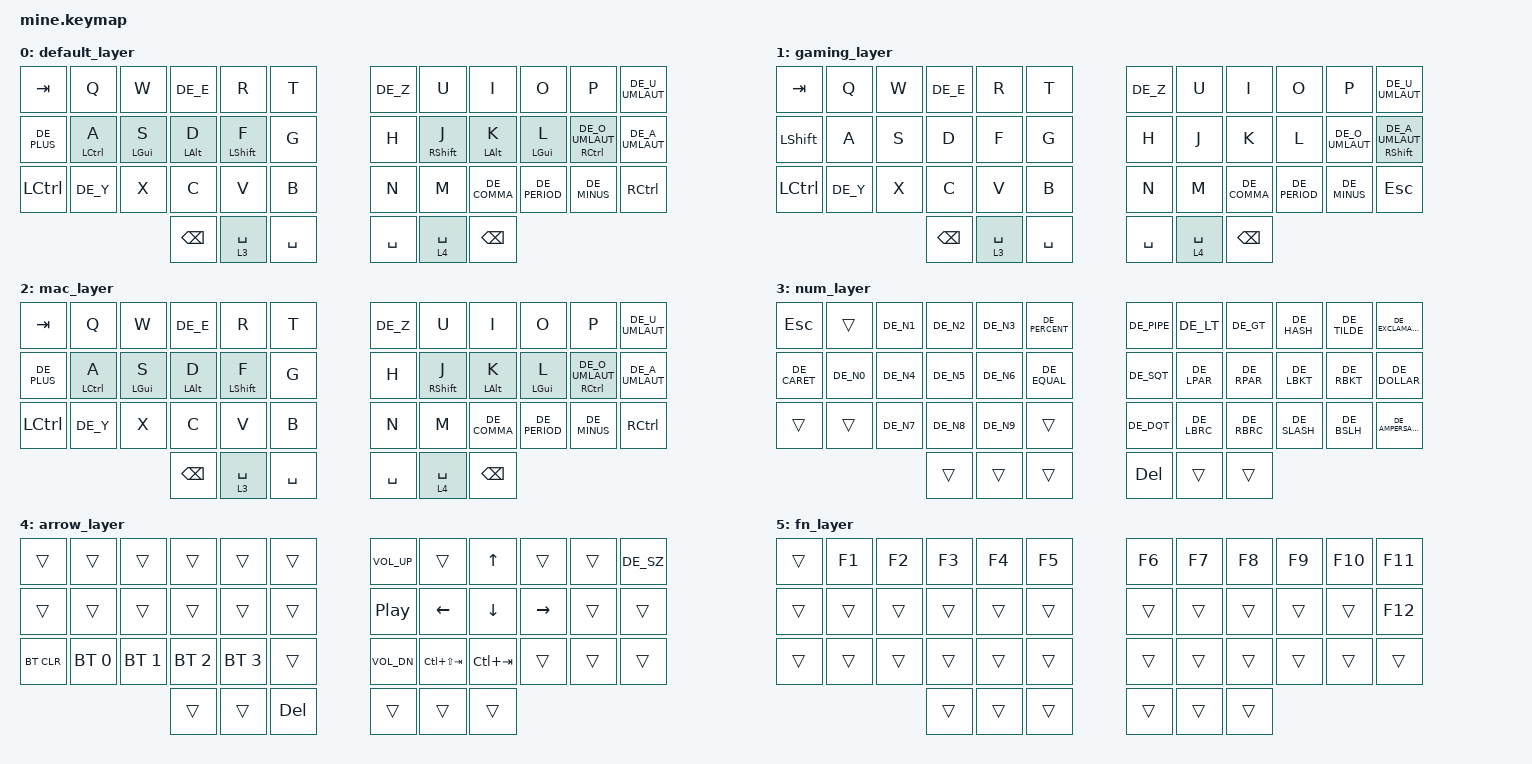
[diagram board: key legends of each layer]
#include <behaviors.dtsi>
#include <dt-bindings/zmk/keys.h>
#include <dt-bindings/zmk/bt.h>
#include "keys_de.h"
#include <dt-bindings/zmk/outputs.h>

/ {
        combos {
                compatible = "zmk,combos";
                combo_ret {
                        timeout-ms = <100>;
                        key-positions = <23 35>;
                        bindings = <&kp RET>;
                };
                
                combo_bcps {
                        timeout-ms = <100>;
                        key-positions = <38 39>;
                        bindings = <&kp BSPC>;
                };

                combo_tggaming {
                        timeout-ms = <100>;
                        key-positions = <12 23>;
                        bindings = <&tog 1>;
                };

                combo_tgmac {
                        timeout-ms = <100>;  
                        key-positions = <0 11>;
                        bindings = <&tog 2>;
                };
        };

        behaviors {
                bhm: balanced_homerow_mods {
                        compatible = "zmk,behavior-hold-tap";
                        #binding-cells = <2>;
                        tapping-term-ms = <200>;
                        quick-tap-ms = <0>;
                        flavor = "balanced";
                        bindings = <&kp>, <&kp>;
                };
        };

        conditional_layers {
                compatible = "zmk,conditional-layers";
                tri_layer {
                        if-layers = <3 4>;
                        then-layer = <5>;
                };
        };

        keymap {
                compatible = "zmk,keymap";

                default_layer {
                        bindings = 
                            //  tab     Q       W       E       R       T               Z       U       I       O       P       Ü
                            
                            //  +       A-ctrl  S-gui   D-alt   F-shift G               H       J-shift  K-alt   L-gui  Ö-ctrl  Ä    
                            
                            //  ctrl    Y       X       C       V       B               N       M       ,       .       -       ctrl
                            
                            //                          bspc    spc(1)  spc             spc     spc(2)  bspc  
                            
                        <
                                &kp TAB &kp Q   &kp W   &kp DE_E   &kp R   &kp T           &kp DE_Z   &kp U   &kp I   &kp O   &kp P   &kp DE_U_UMLAUT
                                &kp DE_PLUS &bhm LCTRL A  &bhm LGUI S &bhm LALT D   &bhm LSHIFT F   &kp G      &kp H      &bhm RSHIFT J   &bhm LALT K   &bhm LGUI L   &bhm RCTRL DE_O_UMLAUT   &kp DE_A_UMLAUT
                                &kp LCTRL &kp DE_Y &kp X &kp C  &kp V   &kp B         &kp N      &kp M   &kp DE_COMMA &kp DE_PERIOD &kp DE_MINUS  &kp RCTRL
                                                   &kp BSPC &lt 3 SPACE &kp SPACE            &kp SPACE &lt 4 SPACE &kp BSPC                    
                        >;
                };

                gaming_layer {
                        bindings = 
                            //  tab     Q       W       E       R       T               Z       U       I       O       P       Ü
                            
                            //  shift   A       S       D       F       G               H       J       K       L       Ö       Ä(shift)     
                            
                            //  ctrl    Y       X       C       V       B               N       M       ,       .       -       esc
                            
                            //                          bcsp    spc(1)  spc             spc     spc(2)  bcsp
                            
                        <
                                &kp TAB &kp Q   &kp W   &kp DE_E   &kp R   &kp T           &kp DE_Z   &kp U   &kp I   &kp O   &kp P   &kp DE_U_UMLAUT
                                &kp LSHIFT &kp A  &kp S &kp D   &kp F   &kp G              &kp H      &kp J   &kp K   &kp L   &kp DE_O_UMLAUT   &mt RSHIFT DE_A_UMLAUT
                                &kp LCTRL &kp DE_Y &kp X &kp C  &kp V   &kp B              &kp N      &kp M   &kp DE_COMMA &kp DE_PERIOD &kp DE_MINUS  &kp ESC
                                                   &kp BSPC &lt 3 SPACE &kp SPACE          &kp SPACE  &lt 4 SPACE &kp BSPC
                        >;
                };

                mac_layer {
                        bindings = 
                            //  tab     Q       W       E       R       T               Z       U       I       O       P       Ü
                            
                            //  +       A-gui   S-ctrl  D-alt   F-shift G               H       J-shift  K-alt   L-ctrl Ö-gui   Ä    
                            
                            //  ctrl    Y       X       C       V       B               N       M       ,       .       -       ctrl
                            
                            //                          bspc    spc(1)  spc             spc     spc(2)  bspc  
                            
                        <
                                &kp TAB &kp Q   &kp W   &kp DE_E   &kp R   &kp T           &kp DE_Z   &kp U   &kp I   &kp O   &kp P   &kp DE_U_UMLAUT
                                &kp DE_PLUS &bhm LCTRL A  &bhm LGUI S &bhm LALT D          &bhm LSHIFT F   &kp G      &kp H      &bhm RSHIFT J   &bhm LALT K   &bhm LGUI L   &bhm RCTRL DE_O_UMLAUT   &kp DE_A_UMLAUT
                                &kp LCTRL &kp DE_Y &kp X &kp C  &kp V   &kp B              &kp N  &kp M   &kp DE_COMMA &kp DE_PERIOD &kp DE_MINUS  &kp RCTRL
                                                   &kp BSPC &lt 3 SPACE &kp SPACE          &kp SPACE &lt 4 SPACE &kp BSPC                    
                        >;
                };

                num_layer {
                        bindings =
                            //  esc     _       1       2       3       %               |       <       >       #       ⁓       !      
                            
                            //  ^^      0       4       5       6       =               '       (       )       [       ]       $       
                            
                            //  _       _       7       8       9       _               "       {       }       /       \       &
                            
                            //                          _       _       _               del     _       _

                        <
                                &kp ESC &trans  &kp DE_N1  &kp DE_N2  &kp DE_N3  &kp DE_PERCENT         &kp DE_PIPE &kp DE_LT &kp DE_GT &kp DE_HASH  &kp DE_TILDE &kp DE_EXCLAMATION
                                &kp DE_CARET &kp DE_N0  &kp DE_N4 &kp DE_N5 &kp DE_N6 &kp DE_EQUAL      &kp DE_SQT &kp DE_LPAR &kp DE_RPAR &kp DE_LBKT &kp DE_RBKT &kp DE_DOLLAR
                                &trans &trans &kp DE_N7 &kp DE_N8 &kp DE_N9 &trans                      &kp DE_DQT &kp DE_LBRC &kp DE_RBRC &kp DE_SLASH &kp DE_BSLH  &kp DE_AMPERSAND
                                                   &trans &trans &trans                                 &kp DEL &trans &trans
                        >;
                };

                arrow_layer {
                        bindings =
                            //  prebt   _       _       _       _       _               v_up    _       up      _       _       ß
 
                            //  preusb  _       _       _       _       _               play    left    down    right   _       _
                        
                            //  bt c    bt 1    bt 2    bt 3    bt 4    _               v_down  p_tab   n_tab   _       _       _
                            
                            //                          _       _       del             _       _       _

                        <
                                &trans &trans  &trans &trans &trans &trans                                      &kp C_VOL_UP   &trans   &kp UP   &trans   &trans   &kp DE_SZ
                                &trans &trans  &trans &trans &trans &trans                                      &kp C_PP      &kp LEFT   &kp DOWN   &kp RIGHT   &trans   &trans
                                &bt BT_CLR &bt BT_SEL 0 &bt BT_SEL 1 &bt BT_SEL 2 &bt BT_SEL 3 &trans           &kp C_VOL_DN  &kp LC(LS(TAB)) &kp LC(TAB) &trans &trans &trans
                                                   &trans &trans &kp DEL                                          &trans &trans &trans
                        >;
                };

                fn_layer {
                        bindings =
                            //  _       f1      f2      f3      f4      f5              f6      f7      f8      f9      f10     f11
 
                            //  _       _       _       _       _       _               _       _       _       _       _       f12
                        
                            //  _       _       _       _       _       _               _       _       _       _       _       _
                            
                            //                          _       _       _               _       _       _

                        <
                                &trans &kp F1  &kp F2  &kp F3  &kp F4  &kp F5                          &kp F6     &kp F7  &kp F8   &kp F9  &kp F10  &kp F11
                                &trans &trans &trans &trans &trans &trans                                       &trans &trans &trans &trans &trans &kp F12
                                &trans &trans &trans &trans &trans &trans                                       &trans &trans &trans &trans &trans &trans
                                                     &trans &trans &trans                                       &trans &trans &trans
                        >;
                };
        };
};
